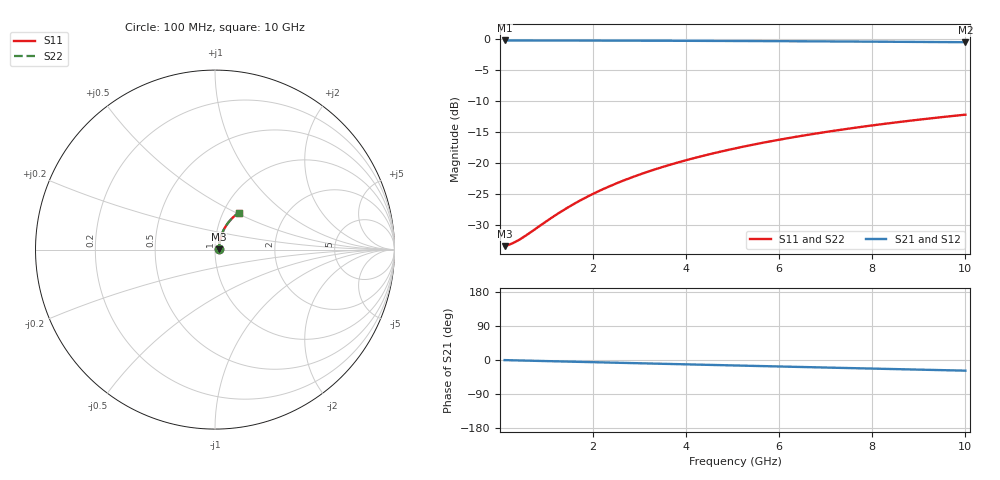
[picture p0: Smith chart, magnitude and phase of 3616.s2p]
# Hz S RI R 50.00
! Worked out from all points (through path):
!   100 points, 100 MHz to 10 GHz, reference 50 ohm
!   highest |S21| = -0.19 dB at 100 MHz (marker M1); lowest = -0.5 dB at 10 GHz (marker M2)
!   group delay of S21, straight-line fit = 7.82 ps
!   lowest |S11| = -33.4 dB at 100 MHz (marker M3), VSWR 1.04, Z = 52.2 + j0.262 ohm
!   |S11| at or under -10 dB: start of sweep to end of sweep
!   |S22| runs from -33.4 to -12.2 dB; largest |S21 - S12| = 0
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1e8  0.0213 0.00251  0.9786 -0.00491  0.9786 -0.00491  0.0213 0.00251
2e8  0.0215 0.00502  0.9785 -0.00982  0.9785 -0.00982  0.0215 0.00502
3e8  0.0217 0.00753  0.9783 -0.0147  0.9783 -0.0147  0.0217 0.00753
4e8  0.0219 0.01  0.9781 -0.0196  0.9781 -0.0196  0.0219 0.01
6e8  0.0222 0.015  0.9776 -0.0294  0.9776 -0.0294  0.0222 0.015
1e9  0.0232 0.025  0.9764 -0.049  0.9764 -0.049  0.0232 0.025
1.3e9  0.0242 0.0325  0.9753 -0.0636  0.9753 -0.0636  0.0242 0.0325
1.5e9  0.025 0.0374  0.9743 -0.0734  0.9743 -0.0734  0.025 0.0374
1.8e9  0.0263 0.0448  0.9727 -0.088  0.9727 -0.088  0.0263 0.0448
2.1e9  0.0279 0.0522  0.9708 -0.1025  0.9708 -0.1025  0.0279 0.0522
2.5e9  0.0303 0.0619  0.9679 -0.1218  0.9679 -0.1218  0.0303 0.0619
2.9e9  0.033 0.0714  0.9645 -0.141  0.9645 -0.141  0.033 0.0714
3.4e9  0.037 0.0832  0.9596 -0.1647  0.9596 -0.1647  0.037 0.0832
3.8e9  0.0406 0.0925  0.9551 -0.1836  0.9551 -0.1836  0.0406 0.0925
4.2e9  0.0445 0.1016  0.9502 -0.2023  0.9502 -0.2023  0.0445 0.1016
4.6e9  0.0488 0.1105  0.9449 -0.2208  0.9449 -0.2208  0.0488 0.1105
5.1e9  0.0547 0.1213  0.9376 -0.2436  0.9376 -0.2436  0.0547 0.1213
5.9e9  0.0651 0.138  0.9246 -0.2795  0.9246 -0.2795  0.0651 0.138
6.7e9  0.0767 0.1537  0.9101 -0.3144  0.9101 -0.3144  0.0767 0.1537
7.5e9  0.0894 0.1683  0.894 -0.3482  0.894 -0.3482  0.0894 0.1683
8.4e9  0.1049 0.1834  0.8742 -0.385  0.8742 -0.385  0.1049 0.1834
1e10  0.1351 0.2065  0.8352 -0.4465  0.8352 -0.4465  0.1351 0.2065
